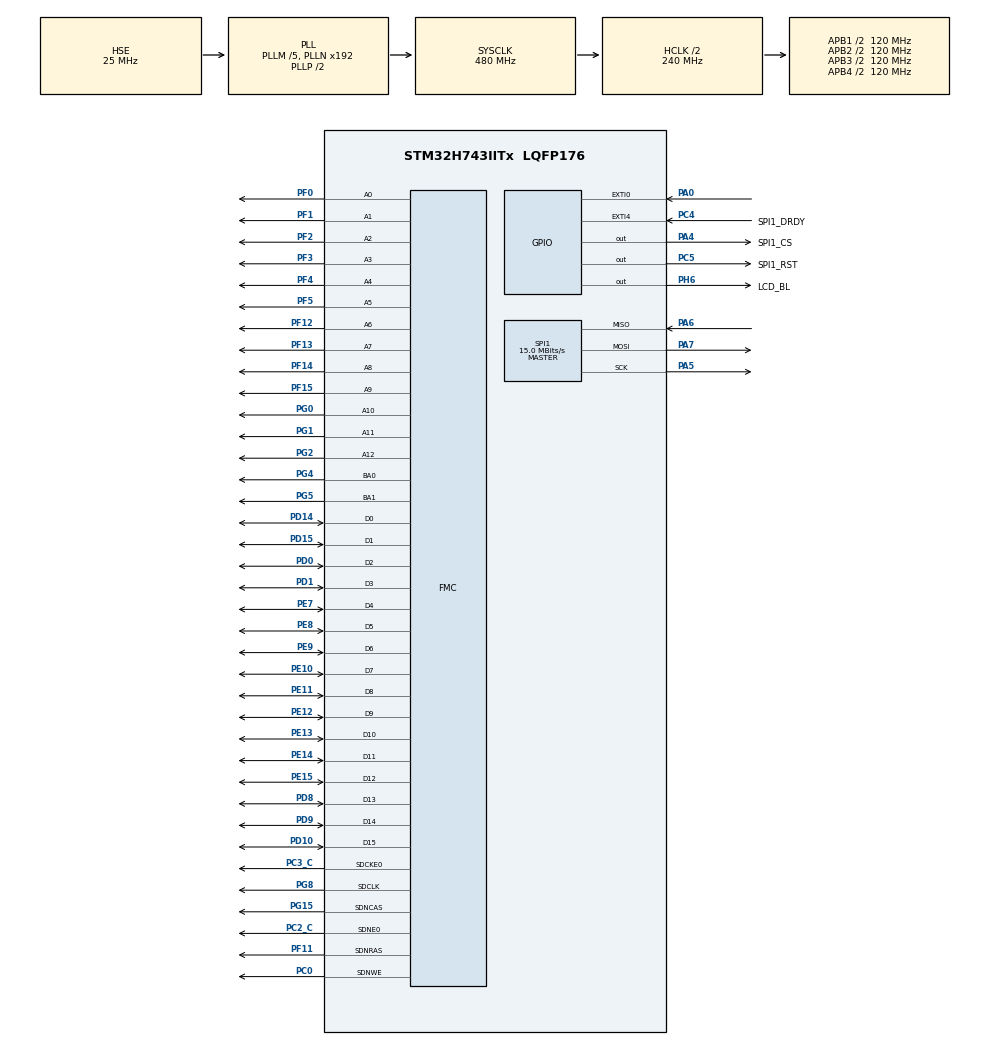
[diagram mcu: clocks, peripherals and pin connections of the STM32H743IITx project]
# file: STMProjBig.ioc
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CORTEX_M7.CPU_DCache=Enabled
CORTEX_M7.CPU_ICache=Enabled
FMC.BankMapConfig=FMC_SWAPBMAP_DISABLE
FMC.CASLatency1=FMC_SDRAM_CAS_LATENCY_3
FMC.ColumnBitsNumber1=FMC_SDRAM_COLUMN_BITS_NUM_9
FMC.ExitSelfRefreshDelay1=7
FMC.LoadToActiveDelay1=2
FMC.RPDelay1=2
FMC.RPDelay2=2
FMC.ReadPipeDelay1=FMC_SDRAM_RPIPE_DELAY_1
FMC.ReadPipeDelay2=FMC_SDRAM_RPIPE_DELAY_1
FMC.RowCycleDelay1=7
FMC.RowCycleDelay2=7
FMC.SDClockPeriod1=FMC_SDRAM_CLOCK_PERIOD_2
FMC.SDClockPeriod2=FMC_SDRAM_CLOCK_PERIOD_2
FMC.SelfRefreshTime1=4
FMC.WriteRecoveryTime1=3
Mcu.Family=STM32H7
Mcu.Name=STM32H743IITx
Mcu.Package=LQFP176
Mcu.UserConstants=SDRAM_BASE,0xC0000000;QSPI_BASE_INT,0x90000000
NVIC.EXTI0_IRQn=true\:0\:0\:false\:false\:true\:true\:true\:true
NVIC.EXTI4_IRQn=true\:0\:0\:false\:false\:true\:true\:true\:true
NVIC.FMC_IRQn=true\:0\:0\:false\:false\:true\:true\:true\:true
NVIC.PriorityGroup=NVIC_PRIORITYGROUP_4
PA0.Signal=GPXTI0
PA13\ (JTMS/SWDIO).Mode=Trace_Asynchronous_SW
PA13\ (JTMS/SWDIO).Signal=DEBUG_JTMS-SWDIO
PA14\ (JTCK/SWCLK).Mode=Trace_Asynchronous_SW
PA14\ (JTCK/SWCLK).Signal=DEBUG_JTCK-SWCLK
PA4.GPIO_Label=SPI1_CS
PA4.GPIO_Speed=GPIO_SPEED_FREQ_VERY_HIGH
PA4.Signal=GPIO_Output
PA5.GPIO_Speed=GPIO_SPEED_FREQ_VERY_HIGH
PA5.Mode=Full_Duplex_Master
PA5.Signal=SPI1_SCK
PA6.GPIO_Speed=GPIO_SPEED_FREQ_VERY_HIGH
PA6.Mode=Full_Duplex_Master
PA6.Signal=SPI1_MISO
PA7.GPIO_Speed=GPIO_SPEED_FREQ_VERY_HIGH
PA7.Mode=Full_Duplex_Master
PA7.Signal=SPI1_MOSI
PB3\ (JTDO/TRACESWO).Mode=Trace_Asynchronous_SW
PB3\ (JTDO/TRACESWO).Signal=DEBUG_JTDO-SWO
PC0.Signal=FMC_SDNWE
PC2_C.Mode=SdramChipSelect1_1
PC2_C.Signal=FMC_SDNE0
PC3_C.Mode=SdramChipSelect1_1
PC3_C.Signal=FMC_SDCKE0
PC4.GPIO_Label=SPI1_DRDY
PC4.GPIO_ModeDefaultEXTI=GPIO_MODE_IT_FALLING
PC4.Signal=GPXTI4
PC5.GPIO_Label=SPI1_RST
PC5.GPIO_Speed=GPIO_SPEED_FREQ_VERY_HIGH
PC5.Signal=GPIO_Output
PD0.Signal=FMC_D2_DA2
PD1.Signal=FMC_D3_DA3
PD10.Signal=FMC_D15_DA15
PD14.Signal=FMC_D0_DA0
PD15.Signal=FMC_D1_DA1
PD8.Signal=FMC_D13_DA13
PD9.Signal=FMC_D14_DA14
PE10.Signal=FMC_D7_DA7
PE11.Signal=FMC_D8_DA8
PE12.Signal=FMC_D9_DA9
PE13.Signal=FMC_D10_DA10
PE14.Signal=FMC_D11_DA11
PE15.Signal=FMC_D12_DA12
PE7.Signal=FMC_D4_DA4
PE8.Signal=FMC_D5_DA5
PE9.Signal=FMC_D6_DA6
PF0.Signal=FMC_A0
PF1.Signal=FMC_A1
PF11.Signal=FMC_SDNRAS
PF12.Signal=FMC_A6
PF13.Signal=FMC_A7
PF14.Signal=FMC_A8
PF15.Signal=FMC_A9
PF2.Signal=FMC_A2
PF3.Signal=FMC_A3
PF4.Signal=FMC_A4
PF5.Signal=FMC_A5
PG0.Signal=FMC_A10
PG1.Signal=FMC_A11
PG15.Signal=FMC_SDNCAS
PG2.Signal=FMC_A12
PG4.Signal=FMC_A14_BA0
PG5.Signal=FMC_A15_BA1
PG8.Signal=FMC_SDCLK
PH0-OSC_IN\ (PH0).Mode=HSE-External-Oscillator
PH0-OSC_IN\ (PH0).Signal=RCC_OSC_IN
PH1-OSC_OUT\ (PH1).Mode=HSE-External-Oscillator
PH1-OSC_OUT\ (PH1).Signal=RCC_OSC_OUT
PH6.GPIO_Label=LCD_BL
PH6.Signal=GPIO_Output
ProjectManager.HeapSize=0x200
ProjectManager.StackSize=0x400
ProjectManager.TargetToolchain=STM32CubeIDE
RCC.ADCFreq_Value=50390625
RCC.APB1Freq_Value=120000000
RCC.APB2Freq_Value=120000000
RCC.APB3Freq_Value=120000000
RCC.APB4Freq_Value=120000000
RCC.CortexFreq_Value=480000000
RCC.D1PPRE=RCC_APB3_DIV2
RCC.D2PPRE1=RCC_APB1_DIV2
RCC.D2PPRE2=RCC_APB2_DIV2
RCC.D3PPRE=RCC_APB4_DIV2
RCC.DIVM1=5
RCC.DIVM3=1
RCC.DIVN1=192
RCC.DIVN3=6
RCC.DIVQ1=8
RCC.DIVR3=6
RCC.HCLKFreq_Value=240000000
RCC.HPRE=RCC_HCLK_DIV2
RCC.PLL2FRACN=0
RCC.PLL3FRACN=0
RCC.PLLFRACN=0
RCC.PLLSourceVirtual=RCC_PLLSOURCE_HSE
RCC.PWR_Regulator_Voltage_Scale=PWR_REGULATOR_VOLTAGE_SCALE0
RCC.SYSCLKFreq_VALUE=480000000
RCC.SYSCLKSource=RCC_SYSCLKSOURCE_PLLCLK
RCC.USBFreq_Value=120000000
SH.FMC_A0.0=FMC_A0,13b-sda1
SH.FMC_A1.0=FMC_A1,13b-sda1
SH.FMC_A10.0=FMC_A10,13b-sda1
SH.FMC_A11.0=FMC_A11,13b-sda1
SH.FMC_A12.0=FMC_A12,13b-sda1
SH.FMC_A14_BA0.0=FMC_BA0,FourSdramBanks1
SH.FMC_A15_BA1.0=FMC_BA1,FourSdramBanks1
SH.FMC_A2.0=FMC_A2,13b-sda1
SH.FMC_A3.0=FMC_A3,13b-sda1
SH.FMC_A4.0=FMC_A4,13b-sda1
SH.FMC_A5.0=FMC_A5,13b-sda1
SH.FMC_A6.0=FMC_A6,13b-sda1
SH.FMC_A7.0=FMC_A7,13b-sda1
SH.FMC_A8.0=FMC_A8,13b-sda1
SH.FMC_A9.0=FMC_A9,13b-sda1
SH.FMC_D0_DA0.0=FMC_D0,sd-16b-d1
SH.FMC_D10_DA10.0=FMC_D10,sd-16b-d1
SH.FMC_D11_DA11.0=FMC_D11,sd-16b-d1
SH.FMC_D12_DA12.0=FMC_D12,sd-16b-d1
SH.FMC_D13_DA13.0=FMC_D13,sd-16b-d1
SH.FMC_D14_DA14.0=FMC_D14,sd-16b-d1
SH.FMC_D15_DA15.0=FMC_D15,sd-16b-d1
SH.FMC_D1_DA1.0=FMC_D1,sd-16b-d1
SH.FMC_D2_DA2.0=FMC_D2,sd-16b-d1
SH.FMC_D3_DA3.0=FMC_D3,sd-16b-d1
SH.FMC_D4_DA4.0=FMC_D4,sd-16b-d1
SH.FMC_D5_DA5.0=FMC_D5,sd-16b-d1
SH.FMC_D6_DA6.0=FMC_D6,sd-16b-d1
SH.FMC_D7_DA7.0=FMC_D7,sd-16b-d1
SH.FMC_D8_DA8.0=FMC_D8,sd-16b-d1
SH.FMC_D9_DA9.0=FMC_D9,sd-16b-d1
SH.FMC_SDCLK.0=FMC_SDCLK,13b-sda1
SH.FMC_SDNCAS.0=FMC_SDNCAS,13b-sda1
SH.FMC_SDNRAS.0=FMC_SDNRAS,13b-sda1
SH.FMC_SDNWE.0=FMC_SDNWE,13b-sda1
SPI1.BaudRatePrescaler=SPI_BAUDRATEPRESCALER_8
SPI1.CLKPhase=SPI_PHASE_2EDGE
SPI1.CLKPolarity=SPI_POLARITY_HIGH
SPI1.CalculateBaudRate=15.0 MBits/s
SPI1.DataSize=SPI_DATASIZE_16BIT
SPI1.Direction=SPI_DIRECTION_2LINES
SPI1.MasterKeepIOState=SPI_MASTER_KEEP_IO_STATE_ENABLE
SPI1.Mode=SPI_MODE_MASTER
SPI1.VirtualType=VM_MASTER
VP_MEMORYMAP_VS_MEMORYMAP.Mode=CurAppReg
board=custom

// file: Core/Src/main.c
/* USER CODE BEGIN Header */
/**
  ******************************************************************************
  * @file           : main.c
  * @brief          : Main program body
  ******************************************************************************
  * @attention
  *
  * Copyright (c) 2026 STMicroelectronics.
  * All rights reserved.
  *
  * This software is licensed under terms that can be found in the LICENSE file
  * in the root directory of this software component.
  * If no LICENSE file comes with this software, it is provided AS-IS.
  *
  ******************************************************************************
  */
/* USER CODE END Header */
#include "main.h"
#include "spi.h"
#include "gpio.h"
#include "fmc.h"

/* USER CODE BEGIN Includes */
#include "myAD7779_drv.h"
/* USER CODE END Includes */

/* USER CODE BEGIN PM */
#define TEST_DATA_SZ    2048
/* USER CODE END PM */

/* USER CODE BEGIN PV */
i32 adc_data[AD7779_CHANNEL_NUMBER] = {0};
u32 adc_data_unsigned[AD7779_CHANNEL_NUMBER] = {0};

i32 test_data[TEST_DATA_SZ];
extern volatile u8 data_fl;
/* USER CODE END PV */

void SystemClock_Config(void);

int main(void)
{

  /* Enable the CPU Cache */

  /* Enable I-Cache---------------------------------------------------------*/
  SCB_EnableICache();

  /* Enable D-Cache---------------------------------------------------------*/
  SCB_EnableDCache();

  /* MCU Configuration--------------------------------------------------------*/

  /* Reset of all peripherals, Initializes the Flash interface and the Systick. */
  HAL_Init();

  /* Configure the system clock */
  SystemClock_Config();

  /* Initialize all configured peripherals */
  MX_GPIO_Init();
  MX_FMC_Init();
  MX_SPI1_Init();
  /* USER CODE BEGIN 2 */
  ad7779_init();
  data_fl = 0;
  /* USER CODE END 2 */

  /* Infinite loop */
  /* USER CODE BEGIN WHILE */
  while (1)
  {
    i32 cnt = 0;
    while (cnt < TEST_DATA_SZ) {
      if (data_fl) {
        AD7779_Get_SigmaDelta_Original(adc_data);
//        AD7779_Get_SigmaDelta_Value(adc_data);
  //      AD7779_Get_SigmaDelta_Old(adc_data_unsigned);
        test_data[cnt++] = adc_data[0];
        data_fl = 0;
      }
    }
    __NOP();
    /* USER CODE END WHILE */

  }
}

void SystemClock_Config(void)
{
  RCC_OscInitTypeDef RCC_OscInitStruct = {0};
  RCC_ClkInitTypeDef RCC_ClkInitStruct = {0};

  /** Supply configuration update enable
  */
  HAL_PWREx_ConfigSupply(PWR_LDO_SUPPLY);

  /** Configure the main internal regulator output voltage
  */
  __HAL_PWR_VOLTAGESCALING_CONFIG(PWR_REGULATOR_VOLTAGE_SCALE0);

  while(!__HAL_PWR_GET_FLAG(PWR_FLAG_VOSRDY)) {}

  /** Initializes the RCC Oscillators according to the specified parameters
  * in the RCC_OscInitTypeDef structure.
  */
  RCC_OscInitStruct.OscillatorType = RCC_OSCILLATORTYPE_HSE;
  RCC_OscInitStruct.HSEState = RCC_HSE_ON;
  RCC_OscInitStruct.PLL.PLLState = RCC_PLL_ON;
  RCC_OscInitStruct.PLL.PLLSource = RCC_PLLSOURCE_HSE;
  RCC_OscInitStruct.PLL.PLLM = 5;
  RCC_OscInitStruct.PLL.PLLN = 192;
  RCC_OscInitStruct.PLL.PLLP = 2;
  RCC_OscInitStruct.PLL.PLLQ = 8;
  RCC_OscInitStruct.PLL.PLLR = 2;
  RCC_OscInitStruct.PLL.PLLRGE = RCC_PLL1VCIRANGE_2;
  RCC_OscInitStruct.PLL.PLLVCOSEL = RCC_PLL1VCOWIDE;
  RCC_OscInitStruct.PLL.PLLFRACN = 0;
  if (HAL_RCC_OscConfig(&RCC_OscInitStruct) != HAL_OK)
  {
    Error_Handler();
  }

  /** Initializes the CPU, AHB and APB buses clocks
  */
  RCC_ClkInitStruct.ClockType = RCC_CLOCKTYPE_HCLK|RCC_CLOCKTYPE_SYSCLK
                              |RCC_CLOCKTYPE_PCLK1|RCC_CLOCKTYPE_PCLK2
                              |RCC_CLOCKTYPE_D3PCLK1|RCC_CLOCKTYPE_D1PCLK1;
  RCC_ClkInitStruct.SYSCLKSource = RCC_SYSCLKSOURCE_PLLCLK;
  RCC_ClkInitStruct.SYSCLKDivider = RCC_SYSCLK_DIV1;
  RCC_ClkInitStruct.AHBCLKDivider = RCC_HCLK_DIV2;
  RCC_ClkInitStruct.APB3CLKDivider = RCC_APB3_DIV2;
  RCC_ClkInitStruct.APB1CLKDivider = RCC_APB1_DIV2;
  RCC_ClkInitStruct.APB2CLKDivider = RCC_APB2_DIV2;
  RCC_ClkInitStruct.APB4CLKDivider = RCC_APB4_DIV2;

  if (HAL_RCC_ClockConfig(&RCC_ClkInitStruct, FLASH_LATENCY_4) != HAL_OK)
  {
    Error_Handler();
  }
}

void Error_Handler(void)
{
  __disable_irq();
  while (1)
  {
  }
}
